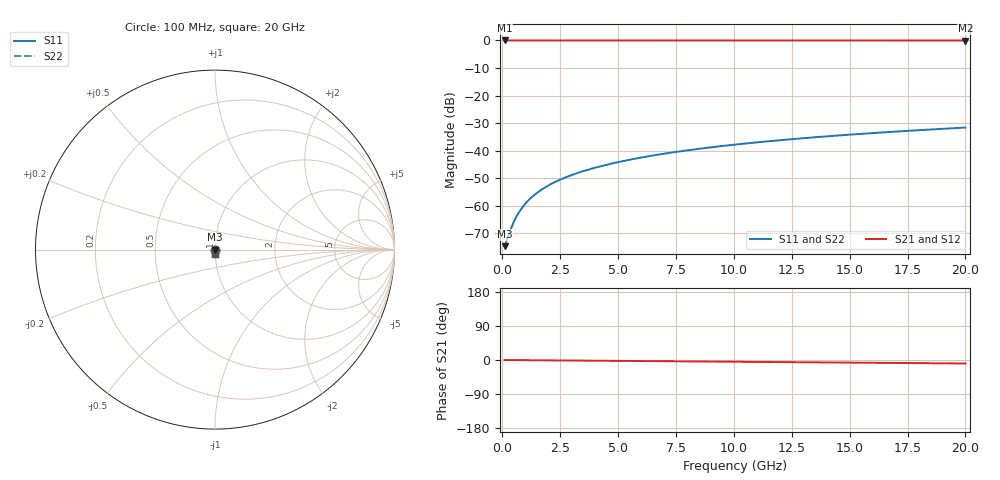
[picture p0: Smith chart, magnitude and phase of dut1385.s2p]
! Touchstone file exported from HFSS 2026.1.0
!  File:  C:/ffzhzh/LocalFiles/Ansys_Project_Files/temp_train_TSV_1385_1783196545_43440.aedt
!  Generated:  04:23:51 AM Jul  5, 2026
!  Design:  TSV
!  Project:  temp_train_TSV_1385_1783196545_43440
! Variables:
!  h_bsmrdl = 2um
!  h_ox = 20um
!  h_rdl = 5um
!  h_sub = 96.15um
!  h_tmrdl = 5um
!  h_tsv = 96.15um
!  h_via = 3um
!  l_bsmrdl = 300um
!  l_sub = 418.74um
!  l_tmrdl = 200um
!  m_sub = 200um
!  pitch = 32.42um
!  r_tsv = 9.37um
!  s_tmrdl = 10um
!  w_bsmrdl = 18um
!  w_sub = 500um
!  w_tmrdl = 12um
!  x_tsv_center1 = 206um
!  x_tsv_center2 = 524um
!  x_tsv_center3 = 736um
!  x_tsv_center4 = 1054um
!  x_tsv_center5 = 1266um
!  x_tsv_center6 = 1584um
# GHz S MA R 50.000000
! Terminal data exported
! Port[1] = TSV1_1_T1
! Port[2] = TSV1_1_T2
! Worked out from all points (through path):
!   200 points, 100 MHz to 20 GHz, reference 50 ohm
!   highest |S21| = 0.00 dB at 100 MHz (marker M1); lowest = 0.0 dB at 20 GHz (marker M2)
!   group delay of S21, straight-line fit = 1.27 ps
!   lowest |S11| = -74.6 dB at 100 MHz (marker M3), VSWR 1.00, Z = 50 - j0.0075 ohm
!   |S11| at or under -10 dB: start of sweep to end of sweep
!   |S22| runs from -74.6 to -31.6 dB; largest |S21 - S12| = 4.9e-15
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0.1  0.0001852 -23.9  0.9998 -0.0  0.9998 -0.0  0.0001852 -23.9
! Gamma 0 0 0 0
! Port Impedance 50 0 50 0
0.3  0.0003182 -48.9  0.9998 -0.1  0.9998 -0.1  0.0003181 -48.9
0.4  0.0004096 -54.5  0.9998 -0.2  0.9998 -0.2  0.0004096 -54.5
0.5  0.0005113 -58.3  0.9997 -0.2  0.9997 -0.2  0.0005113 -58.3
0.6  0.0006205 -61.3  0.9997 -0.3  0.9997 -0.3  0.0006205 -61.3
0.7  0.000735 -63.6  0.9997 -0.3  0.9997 -0.3  0.000735 -63.6
0.9  0.0009741 -67.3  0.9996 -0.4  0.9996 -0.4  0.0009741 -67.3
1.2  0.001345 -71.3  0.9996 -0.6  0.9996 -0.6  0.001345 -71.3
1.4  0.001595 -73.3  0.9995 -0.7  0.9995 -0.7  0.001595 -73.3
1.6  0.001846 -74.9  0.9995 -0.8  0.9995 -0.8  0.001846 -74.9
2.1  0.002476 -77.9  0.9994 -1.0  0.9994 -1.0  0.002476 -77.9
2.7  0.003234 -80.2  0.9994 -1.3  0.9994 -1.3  0.003234 -80.2
3.5  0.004255 -82.1  0.9993 -1.6  0.9993 -1.6  0.004255 -82.1
4.2  0.005157 -83.4  0.9992 -1.9  0.9992 -1.9  0.005157 -83.4
5  0.006197 -84.5  0.9991 -2.3  0.9991 -2.3  0.006197 -84.5
5.9  0.007378 -85.6  0.9991 -2.7  0.9991 -2.7  0.007378 -85.6
6.8  0.008568 -86.5  0.999 -3.1  0.999 -3.1  0.008568 -86.5
8.3  0.01056 -87.9  0.9988 -3.8  0.9988 -3.8  0.01056 -87.9
10.1  0.01297 -89.3  0.9987 -4.6  0.9987 -4.6  0.01297 -89.3
13.4  0.01739 -91.6  0.9985 -6.2  0.9985 -6.2  0.01739 -91.6
16.7  0.02182 -93.6  0.9982 -7.7  0.9982 -7.7  0.02182 -93.6
20  0.02627 -95.4  0.9979 -9.2  0.9979 -9.2  0.02627 -95.4
